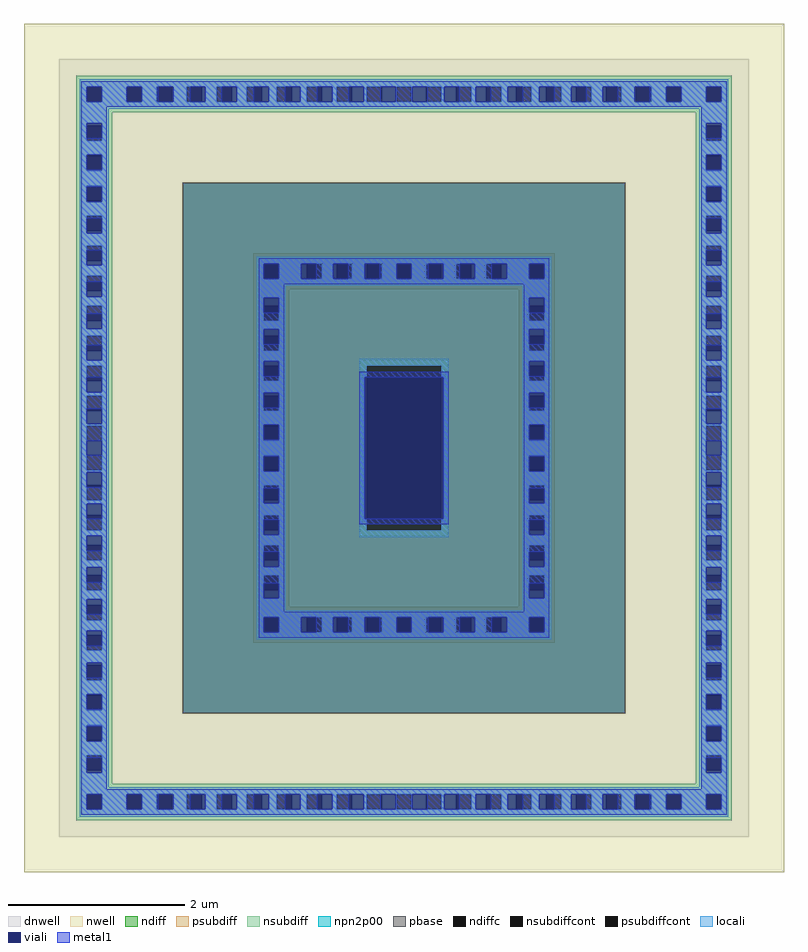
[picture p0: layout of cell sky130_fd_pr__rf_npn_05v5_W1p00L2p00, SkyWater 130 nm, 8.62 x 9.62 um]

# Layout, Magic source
magic
tech sky130A
magscale 1 2
<< dnwell >>
rect 80 80 1644 1844
<< nwell >>
rect 0 1564 1724 1924
rect 0 360 360 1564
rect 1364 360 1724 1564
rect 0 0 1724 360
<< pbase >>
rect 360 360 1364 1564
<< npn2p00 >>
rect 360 360 1364 1564
<< ndiff >>
rect 762 1149 962 1162
rect 762 775 777 1149
rect 947 775 962 1149
rect 762 762 962 775
<< ndiffc >>
rect 777 775 947 1149
<< psubdiff >>
rect 520 1380 1204 1404
rect 520 1346 544 1380
rect 578 1346 641 1380
rect 675 1346 709 1380
rect 743 1346 777 1380
rect 811 1346 845 1380
rect 879 1346 913 1380
rect 947 1346 981 1380
rect 1015 1346 1049 1380
rect 1083 1346 1146 1380
rect 1180 1346 1204 1380
rect 520 1322 1204 1346
rect 520 1285 602 1322
rect 520 1251 544 1285
rect 578 1251 602 1285
rect 520 1217 602 1251
rect 520 1183 544 1217
rect 578 1183 602 1217
rect 520 1149 602 1183
rect 1122 1285 1204 1322
rect 1122 1251 1146 1285
rect 1180 1251 1204 1285
rect 1122 1217 1204 1251
rect 1122 1183 1146 1217
rect 1180 1183 1204 1217
rect 520 1115 544 1149
rect 578 1115 602 1149
rect 520 1081 602 1115
rect 520 1047 544 1081
rect 578 1047 602 1081
rect 520 1013 602 1047
rect 520 979 544 1013
rect 578 979 602 1013
rect 520 945 602 979
rect 520 911 544 945
rect 578 911 602 945
rect 520 877 602 911
rect 520 843 544 877
rect 578 843 602 877
rect 520 809 602 843
rect 520 775 544 809
rect 578 775 602 809
rect 520 741 602 775
rect 1122 1149 1204 1183
rect 1122 1115 1146 1149
rect 1180 1115 1204 1149
rect 1122 1081 1204 1115
rect 1122 1047 1146 1081
rect 1180 1047 1204 1081
rect 1122 1013 1204 1047
rect 1122 979 1146 1013
rect 1180 979 1204 1013
rect 1122 945 1204 979
rect 1122 911 1146 945
rect 1180 911 1204 945
rect 1122 877 1204 911
rect 1122 843 1146 877
rect 1180 843 1204 877
rect 1122 809 1204 843
rect 1122 775 1146 809
rect 1180 775 1204 809
rect 520 707 544 741
rect 578 707 602 741
rect 520 673 602 707
rect 520 639 544 673
rect 578 639 602 673
rect 520 602 602 639
rect 1122 741 1204 775
rect 1122 707 1146 741
rect 1180 707 1204 741
rect 1122 673 1204 707
rect 1122 639 1146 673
rect 1180 639 1204 673
rect 1122 602 1204 639
rect 520 578 1204 602
rect 520 544 544 578
rect 578 544 641 578
rect 675 544 709 578
rect 743 544 777 578
rect 811 544 845 578
rect 879 544 913 578
rect 947 544 981 578
rect 1015 544 1049 578
rect 1083 544 1146 578
rect 1180 544 1204 578
rect 520 520 1204 544
<< nsubdiff >>
rect 118 1782 1606 1806
rect 118 1748 142 1782
rect 176 1748 233 1782
rect 267 1748 301 1782
rect 335 1748 369 1782
rect 403 1748 437 1782
rect 471 1748 505 1782
rect 539 1748 573 1782
rect 607 1748 641 1782
rect 675 1748 709 1782
rect 743 1748 777 1782
rect 811 1748 845 1782
rect 879 1748 913 1782
rect 947 1748 981 1782
rect 1015 1748 1049 1782
rect 1083 1748 1117 1782
rect 1151 1748 1185 1782
rect 1219 1748 1253 1782
rect 1287 1748 1321 1782
rect 1355 1748 1389 1782
rect 1423 1748 1457 1782
rect 1491 1748 1548 1782
rect 1582 1748 1606 1782
rect 118 1724 1606 1748
rect 118 1693 200 1724
rect 118 1659 142 1693
rect 176 1659 200 1693
rect 118 1625 200 1659
rect 118 1591 142 1625
rect 176 1591 200 1625
rect 118 1557 200 1591
rect 118 1523 142 1557
rect 176 1523 200 1557
rect 118 1489 200 1523
rect 118 1455 142 1489
rect 176 1455 200 1489
rect 118 1421 200 1455
rect 118 1387 142 1421
rect 176 1387 200 1421
rect 1524 1693 1606 1724
rect 1524 1659 1548 1693
rect 1582 1659 1606 1693
rect 1524 1625 1606 1659
rect 1524 1591 1548 1625
rect 1582 1591 1606 1625
rect 1524 1557 1606 1591
rect 1524 1523 1548 1557
rect 1582 1523 1606 1557
rect 1524 1489 1606 1523
rect 1524 1455 1548 1489
rect 1582 1455 1606 1489
rect 1524 1421 1606 1455
rect 118 1353 200 1387
rect 118 1319 142 1353
rect 176 1319 200 1353
rect 118 1285 200 1319
rect 118 1251 142 1285
rect 176 1251 200 1285
rect 118 1217 200 1251
rect 118 1183 142 1217
rect 176 1183 200 1217
rect 118 1149 200 1183
rect 118 1115 142 1149
rect 176 1115 200 1149
rect 118 1081 200 1115
rect 118 1047 142 1081
rect 176 1047 200 1081
rect 118 1013 200 1047
rect 118 979 142 1013
rect 176 979 200 1013
rect 118 945 200 979
rect 118 911 142 945
rect 176 911 200 945
rect 118 877 200 911
rect 118 843 142 877
rect 176 843 200 877
rect 118 809 200 843
rect 118 775 142 809
rect 176 775 200 809
rect 118 741 200 775
rect 118 707 142 741
rect 176 707 200 741
rect 118 673 200 707
rect 118 639 142 673
rect 176 639 200 673
rect 118 605 200 639
rect 118 571 142 605
rect 176 571 200 605
rect 118 537 200 571
rect 118 503 142 537
rect 176 503 200 537
rect 1524 1387 1548 1421
rect 1582 1387 1606 1421
rect 1524 1353 1606 1387
rect 1524 1319 1548 1353
rect 1582 1319 1606 1353
rect 1524 1285 1606 1319
rect 1524 1251 1548 1285
rect 1582 1251 1606 1285
rect 1524 1217 1606 1251
rect 1524 1183 1548 1217
rect 1582 1183 1606 1217
rect 1524 1149 1606 1183
rect 1524 1115 1548 1149
rect 1582 1115 1606 1149
rect 1524 1081 1606 1115
rect 1524 1047 1548 1081
rect 1582 1047 1606 1081
rect 1524 1013 1606 1047
rect 1524 979 1548 1013
rect 1582 979 1606 1013
rect 1524 945 1606 979
rect 1524 911 1548 945
rect 1582 911 1606 945
rect 1524 877 1606 911
rect 1524 843 1548 877
rect 1582 843 1606 877
rect 1524 809 1606 843
rect 1524 775 1548 809
rect 1582 775 1606 809
rect 1524 741 1606 775
rect 1524 707 1548 741
rect 1582 707 1606 741
rect 1524 673 1606 707
rect 1524 639 1548 673
rect 1582 639 1606 673
rect 1524 605 1606 639
rect 1524 571 1548 605
rect 1582 571 1606 605
rect 1524 537 1606 571
rect 118 469 200 503
rect 118 435 142 469
rect 176 435 200 469
rect 118 401 200 435
rect 118 367 142 401
rect 176 367 200 401
rect 118 333 200 367
rect 118 299 142 333
rect 176 299 200 333
rect 118 265 200 299
rect 118 231 142 265
rect 176 231 200 265
rect 118 200 200 231
rect 1524 503 1548 537
rect 1582 503 1606 537
rect 1524 469 1606 503
rect 1524 435 1548 469
rect 1582 435 1606 469
rect 1524 401 1606 435
rect 1524 367 1548 401
rect 1582 367 1606 401
rect 1524 333 1606 367
rect 1524 299 1548 333
rect 1582 299 1606 333
rect 1524 265 1606 299
rect 1524 231 1548 265
rect 1582 231 1606 265
rect 1524 200 1606 231
rect 118 176 1606 200
rect 118 142 142 176
rect 176 142 233 176
rect 267 142 301 176
rect 335 142 369 176
rect 403 142 437 176
rect 471 142 505 176
rect 539 142 573 176
rect 607 142 641 176
rect 675 142 709 176
rect 743 142 777 176
rect 811 142 845 176
rect 879 142 913 176
rect 947 142 981 176
rect 1015 142 1049 176
rect 1083 142 1117 176
rect 1151 142 1185 176
rect 1219 142 1253 176
rect 1287 142 1321 176
rect 1355 142 1389 176
rect 1423 142 1457 176
rect 1491 142 1548 176
rect 1582 142 1606 176
rect 118 118 1606 142
<< psubdiffcont >>
rect 544 1346 578 1380
rect 641 1346 675 1380
rect 709 1346 743 1380
rect 777 1346 811 1380
rect 845 1346 879 1380
rect 913 1346 947 1380
rect 981 1346 1015 1380
rect 1049 1346 1083 1380
rect 1146 1346 1180 1380
rect 544 1251 578 1285
rect 544 1183 578 1217
rect 1146 1251 1180 1285
rect 1146 1183 1180 1217
rect 544 1115 578 1149
rect 544 1047 578 1081
rect 544 979 578 1013
rect 544 911 578 945
rect 544 843 578 877
rect 544 775 578 809
rect 1146 1115 1180 1149
rect 1146 1047 1180 1081
rect 1146 979 1180 1013
rect 1146 911 1180 945
rect 1146 843 1180 877
rect 1146 775 1180 809
rect 544 707 578 741
rect 544 639 578 673
rect 1146 707 1180 741
rect 1146 639 1180 673
rect 544 544 578 578
rect 641 544 675 578
rect 709 544 743 578
rect 777 544 811 578
rect 845 544 879 578
rect 913 544 947 578
rect 981 544 1015 578
rect 1049 544 1083 578
rect 1146 544 1180 578
<< nsubdiffcont >>
rect 142 1748 176 1782
rect 233 1748 267 1782
rect 301 1748 335 1782
rect 369 1748 403 1782
rect 437 1748 471 1782
rect 505 1748 539 1782
rect 573 1748 607 1782
rect 641 1748 675 1782
rect 709 1748 743 1782
rect 777 1748 811 1782
rect 845 1748 879 1782
rect 913 1748 947 1782
rect 981 1748 1015 1782
rect 1049 1748 1083 1782
rect 1117 1748 1151 1782
rect 1185 1748 1219 1782
rect 1253 1748 1287 1782
rect 1321 1748 1355 1782
rect 1389 1748 1423 1782
rect 1457 1748 1491 1782
rect 1548 1748 1582 1782
rect 142 1659 176 1693
rect 142 1591 176 1625
rect 142 1523 176 1557
rect 142 1455 176 1489
rect 142 1387 176 1421
rect 1548 1659 1582 1693
rect 1548 1591 1582 1625
rect 1548 1523 1582 1557
rect 1548 1455 1582 1489
rect 142 1319 176 1353
rect 142 1251 176 1285
rect 142 1183 176 1217
rect 142 1115 176 1149
rect 142 1047 176 1081
rect 142 979 176 1013
rect 142 911 176 945
rect 142 843 176 877
rect 142 775 176 809
rect 142 707 176 741
rect 142 639 176 673
rect 142 571 176 605
rect 142 503 176 537
rect 1548 1387 1582 1421
rect 1548 1319 1582 1353
rect 1548 1251 1582 1285
rect 1548 1183 1582 1217
rect 1548 1115 1582 1149
rect 1548 1047 1582 1081
rect 1548 979 1582 1013
rect 1548 911 1582 945
rect 1548 843 1582 877
rect 1548 775 1582 809
rect 1548 707 1582 741
rect 1548 639 1582 673
rect 1548 571 1582 605
rect 142 435 176 469
rect 142 367 176 401
rect 142 299 176 333
rect 142 231 176 265
rect 1548 503 1582 537
rect 1548 435 1582 469
rect 1548 367 1582 401
rect 1548 299 1582 333
rect 1548 231 1582 265
rect 142 142 176 176
rect 233 142 267 176
rect 301 142 335 176
rect 369 142 403 176
rect 437 142 471 176
rect 505 142 539 176
rect 573 142 607 176
rect 641 142 675 176
rect 709 142 743 176
rect 777 142 811 176
rect 845 142 879 176
rect 913 142 947 176
rect 981 142 1015 176
rect 1049 142 1083 176
rect 1117 142 1151 176
rect 1185 142 1219 176
rect 1253 142 1287 176
rect 1321 142 1355 176
rect 1389 142 1423 176
rect 1457 142 1491 176
rect 1548 142 1582 176
<< locali >>
rect 126 1782 1598 1798
rect 126 1748 142 1782
rect 176 1748 233 1782
rect 267 1748 301 1782
rect 339 1748 369 1782
rect 411 1748 437 1782
rect 483 1748 505 1782
rect 555 1748 573 1782
rect 627 1748 641 1782
rect 699 1748 709 1782
rect 771 1748 777 1782
rect 843 1748 845 1782
rect 879 1748 881 1782
rect 947 1748 953 1782
rect 1015 1748 1025 1782
rect 1083 1748 1097 1782
rect 1151 1748 1169 1782
rect 1219 1748 1241 1782
rect 1287 1748 1313 1782
rect 1355 1748 1385 1782
rect 1423 1748 1457 1782
rect 1491 1748 1548 1782
rect 1582 1748 1598 1782
rect 126 1732 1598 1748
rect 126 1699 192 1732
rect 126 1659 142 1699
rect 176 1659 192 1699
rect 126 1627 192 1659
rect 126 1591 142 1627
rect 176 1591 192 1627
rect 126 1557 192 1591
rect 126 1521 142 1557
rect 176 1521 192 1557
rect 126 1489 192 1521
rect 126 1449 142 1489
rect 176 1449 192 1489
rect 126 1421 192 1449
rect 126 1377 142 1421
rect 176 1377 192 1421
rect 1532 1699 1598 1732
rect 1532 1659 1548 1699
rect 1582 1659 1598 1699
rect 1532 1627 1598 1659
rect 1532 1591 1548 1627
rect 1582 1591 1598 1627
rect 1532 1557 1598 1591
rect 1532 1521 1548 1557
rect 1582 1521 1598 1557
rect 1532 1489 1598 1521
rect 1532 1449 1548 1489
rect 1582 1449 1598 1489
rect 1532 1421 1598 1449
rect 126 1353 192 1377
rect 126 1305 142 1353
rect 176 1305 192 1353
rect 126 1285 192 1305
rect 126 1233 142 1285
rect 176 1233 192 1285
rect 126 1217 192 1233
rect 126 1161 142 1217
rect 176 1161 192 1217
rect 126 1149 192 1161
rect 126 1089 142 1149
rect 176 1089 192 1149
rect 126 1081 192 1089
rect 126 1017 142 1081
rect 176 1017 192 1081
rect 126 1013 192 1017
rect 126 911 142 1013
rect 176 911 192 1013
rect 126 907 192 911
rect 126 843 142 907
rect 176 843 192 907
rect 126 835 192 843
rect 126 775 142 835
rect 176 775 192 835
rect 126 763 192 775
rect 126 707 142 763
rect 176 707 192 763
rect 126 691 192 707
rect 126 639 142 691
rect 176 639 192 691
rect 126 619 192 639
rect 126 571 142 619
rect 176 571 192 619
rect 126 547 192 571
rect 126 503 142 547
rect 176 503 192 547
rect 528 1380 1196 1396
rect 528 1346 544 1380
rect 578 1346 629 1380
rect 675 1346 701 1380
rect 743 1346 773 1380
rect 811 1346 845 1380
rect 879 1346 913 1380
rect 951 1346 981 1380
rect 1023 1346 1049 1380
rect 1095 1346 1146 1380
rect 1180 1346 1196 1380
rect 528 1330 1196 1346
rect 528 1303 594 1330
rect 528 1251 544 1303
rect 578 1251 594 1303
rect 528 1231 594 1251
rect 528 1183 544 1231
rect 578 1183 594 1231
rect 528 1159 594 1183
rect 1130 1303 1196 1330
rect 1130 1251 1146 1303
rect 1180 1251 1196 1303
rect 1130 1231 1196 1251
rect 1130 1183 1146 1231
rect 1180 1183 1196 1231
rect 528 1115 544 1159
rect 578 1115 594 1159
rect 528 1087 594 1115
rect 528 1047 544 1087
rect 578 1047 594 1087
rect 528 1015 594 1047
rect 528 979 544 1015
rect 578 979 594 1015
rect 528 945 594 979
rect 528 909 544 945
rect 578 909 594 945
rect 528 877 594 909
rect 528 837 544 877
rect 578 837 594 877
rect 528 809 594 837
rect 528 765 544 809
rect 578 765 594 809
rect 528 741 594 765
rect 761 1149 963 1165
rect 761 1123 777 1149
rect 947 1123 963 1149
rect 761 801 773 1123
rect 951 801 963 1123
rect 761 775 777 801
rect 947 775 963 801
rect 761 759 963 775
rect 1130 1159 1196 1183
rect 1130 1115 1146 1159
rect 1180 1115 1196 1159
rect 1130 1087 1196 1115
rect 1130 1047 1146 1087
rect 1180 1047 1196 1087
rect 1130 1015 1196 1047
rect 1130 979 1146 1015
rect 1180 979 1196 1015
rect 1130 945 1196 979
rect 1130 909 1146 945
rect 1180 909 1196 945
rect 1130 877 1196 909
rect 1130 837 1146 877
rect 1180 837 1196 877
rect 1130 809 1196 837
rect 1130 765 1146 809
rect 1180 765 1196 809
rect 528 693 544 741
rect 578 693 594 741
rect 528 673 594 693
rect 528 621 544 673
rect 578 621 594 673
rect 528 594 594 621
rect 1130 741 1196 765
rect 1130 693 1146 741
rect 1180 693 1196 741
rect 1130 673 1196 693
rect 1130 621 1146 673
rect 1180 621 1196 673
rect 1130 594 1196 621
rect 528 578 1196 594
rect 528 544 544 578
rect 578 544 629 578
rect 675 544 701 578
rect 743 544 773 578
rect 811 544 845 578
rect 879 544 913 578
rect 951 544 981 578
rect 1023 544 1049 578
rect 1095 544 1146 578
rect 1180 544 1196 578
rect 528 528 1196 544
rect 1532 1377 1548 1421
rect 1582 1377 1598 1421
rect 1532 1353 1598 1377
rect 1532 1305 1548 1353
rect 1582 1305 1598 1353
rect 1532 1285 1598 1305
rect 1532 1233 1548 1285
rect 1582 1233 1598 1285
rect 1532 1217 1598 1233
rect 1532 1161 1548 1217
rect 1582 1161 1598 1217
rect 1532 1149 1598 1161
rect 1532 1089 1548 1149
rect 1582 1089 1598 1149
rect 1532 1081 1598 1089
rect 1532 1017 1548 1081
rect 1582 1017 1598 1081
rect 1532 1013 1598 1017
rect 1532 911 1548 1013
rect 1582 911 1598 1013
rect 1532 907 1598 911
rect 1532 843 1548 907
rect 1582 843 1598 907
rect 1532 835 1598 843
rect 1532 775 1548 835
rect 1582 775 1598 835
rect 1532 763 1598 775
rect 1532 707 1548 763
rect 1582 707 1598 763
rect 1532 691 1598 707
rect 1532 639 1548 691
rect 1582 639 1598 691
rect 1532 619 1598 639
rect 1532 571 1548 619
rect 1582 571 1598 619
rect 1532 547 1598 571
rect 126 475 192 503
rect 126 435 142 475
rect 176 435 192 475
rect 126 403 192 435
rect 126 367 142 403
rect 176 367 192 403
rect 126 333 192 367
rect 126 297 142 333
rect 176 297 192 333
rect 126 265 192 297
rect 126 225 142 265
rect 176 225 192 265
rect 126 192 192 225
rect 1532 503 1548 547
rect 1582 503 1598 547
rect 1532 475 1598 503
rect 1532 435 1548 475
rect 1582 435 1598 475
rect 1532 403 1598 435
rect 1532 367 1548 403
rect 1582 367 1598 403
rect 1532 333 1598 367
rect 1532 297 1548 333
rect 1582 297 1598 333
rect 1532 265 1598 297
rect 1532 225 1548 265
rect 1582 225 1598 265
rect 1532 192 1598 225
rect 126 176 1598 192
rect 126 142 142 176
rect 176 142 233 176
rect 267 142 301 176
rect 339 142 369 176
rect 411 142 437 176
rect 483 142 505 176
rect 555 142 573 176
rect 627 142 641 176
rect 699 142 709 176
rect 771 142 777 176
rect 843 142 845 176
rect 879 142 881 176
rect 947 142 953 176
rect 1015 142 1025 176
rect 1083 142 1097 176
rect 1151 142 1169 176
rect 1219 142 1241 176
rect 1287 142 1313 176
rect 1355 142 1385 176
rect 1423 142 1457 176
rect 1491 142 1548 176
rect 1582 142 1598 176
rect 126 126 1598 142
<< viali >>
rect 142 1748 176 1782
rect 233 1748 267 1782
rect 305 1748 335 1782
rect 335 1748 339 1782
rect 377 1748 403 1782
rect 403 1748 411 1782
rect 449 1748 471 1782
rect 471 1748 483 1782
rect 521 1748 539 1782
rect 539 1748 555 1782
rect 593 1748 607 1782
rect 607 1748 627 1782
rect 665 1748 675 1782
rect 675 1748 699 1782
rect 737 1748 743 1782
rect 743 1748 771 1782
rect 809 1748 811 1782
rect 811 1748 843 1782
rect 881 1748 913 1782
rect 913 1748 915 1782
rect 953 1748 981 1782
rect 981 1748 987 1782
rect 1025 1748 1049 1782
rect 1049 1748 1059 1782
rect 1097 1748 1117 1782
rect 1117 1748 1131 1782
rect 1169 1748 1185 1782
rect 1185 1748 1203 1782
rect 1241 1748 1253 1782
rect 1253 1748 1275 1782
rect 1313 1748 1321 1782
rect 1321 1748 1347 1782
rect 1385 1748 1389 1782
rect 1389 1748 1419 1782
rect 1457 1748 1491 1782
rect 1548 1748 1582 1782
rect 142 1693 176 1699
rect 142 1665 176 1693
rect 142 1625 176 1627
rect 142 1593 176 1625
rect 142 1523 176 1555
rect 142 1521 176 1523
rect 142 1455 176 1483
rect 142 1449 176 1455
rect 142 1387 176 1411
rect 142 1377 176 1387
rect 1548 1693 1582 1699
rect 1548 1665 1582 1693
rect 1548 1625 1582 1627
rect 1548 1593 1582 1625
rect 1548 1523 1582 1555
rect 1548 1521 1582 1523
rect 1548 1455 1582 1483
rect 1548 1449 1582 1455
rect 142 1319 176 1339
rect 142 1305 176 1319
rect 142 1251 176 1267
rect 142 1233 176 1251
rect 142 1183 176 1195
rect 142 1161 176 1183
rect 142 1115 176 1123
rect 142 1089 176 1115
rect 142 1047 176 1051
rect 142 1017 176 1047
rect 142 945 176 979
rect 142 877 176 907
rect 142 873 176 877
rect 142 809 176 835
rect 142 801 176 809
rect 142 741 176 763
rect 142 729 176 741
rect 142 673 176 691
rect 142 657 176 673
rect 142 605 176 619
rect 142 585 176 605
rect 142 537 176 547
rect 142 513 176 537
rect 544 1346 578 1380
rect 629 1346 641 1380
rect 641 1346 663 1380
rect 701 1346 709 1380
rect 709 1346 735 1380
rect 773 1346 777 1380
rect 777 1346 807 1380
rect 845 1346 879 1380
rect 917 1346 947 1380
rect 947 1346 951 1380
rect 989 1346 1015 1380
rect 1015 1346 1023 1380
rect 1061 1346 1083 1380
rect 1083 1346 1095 1380
rect 1146 1346 1180 1380
rect 544 1285 578 1303
rect 544 1269 578 1285
rect 544 1217 578 1231
rect 544 1197 578 1217
rect 1146 1285 1180 1303
rect 1146 1269 1180 1285
rect 1146 1217 1180 1231
rect 1146 1197 1180 1217
rect 544 1149 578 1159
rect 544 1125 578 1149
rect 544 1081 578 1087
rect 544 1053 578 1081
rect 544 1013 578 1015
rect 544 981 578 1013
rect 544 911 578 943
rect 544 909 578 911
rect 544 843 578 871
rect 544 837 578 843
rect 544 775 578 799
rect 544 765 578 775
rect 773 801 777 1123
rect 777 801 947 1123
rect 947 801 951 1123
rect 1146 1149 1180 1159
rect 1146 1125 1180 1149
rect 1146 1081 1180 1087
rect 1146 1053 1180 1081
rect 1146 1013 1180 1015
rect 1146 981 1180 1013
rect 1146 911 1180 943
rect 1146 909 1180 911
rect 1146 843 1180 871
rect 1146 837 1180 843
rect 1146 775 1180 799
rect 1146 765 1180 775
rect 544 707 578 727
rect 544 693 578 707
rect 544 639 578 655
rect 544 621 578 639
rect 1146 707 1180 727
rect 1146 693 1180 707
rect 1146 639 1180 655
rect 1146 621 1180 639
rect 544 544 578 578
rect 629 544 641 578
rect 641 544 663 578
rect 701 544 709 578
rect 709 544 735 578
rect 773 544 777 578
rect 777 544 807 578
rect 845 544 879 578
rect 917 544 947 578
rect 947 544 951 578
rect 989 544 1015 578
rect 1015 544 1023 578
rect 1061 544 1083 578
rect 1083 544 1095 578
rect 1146 544 1180 578
rect 1548 1387 1582 1411
rect 1548 1377 1582 1387
rect 1548 1319 1582 1339
rect 1548 1305 1582 1319
rect 1548 1251 1582 1267
rect 1548 1233 1582 1251
rect 1548 1183 1582 1195
rect 1548 1161 1582 1183
rect 1548 1115 1582 1123
rect 1548 1089 1582 1115
rect 1548 1047 1582 1051
rect 1548 1017 1582 1047
rect 1548 945 1582 979
rect 1548 877 1582 907
rect 1548 873 1582 877
rect 1548 809 1582 835
rect 1548 801 1582 809
rect 1548 741 1582 763
rect 1548 729 1582 741
rect 1548 673 1582 691
rect 1548 657 1582 673
rect 1548 605 1582 619
rect 1548 585 1582 605
rect 142 469 176 475
rect 142 441 176 469
rect 142 401 176 403
rect 142 369 176 401
rect 142 299 176 331
rect 142 297 176 299
rect 142 231 176 259
rect 142 225 176 231
rect 1548 537 1582 547
rect 1548 513 1582 537
rect 1548 469 1582 475
rect 1548 441 1582 469
rect 1548 401 1582 403
rect 1548 369 1582 401
rect 1548 299 1582 331
rect 1548 297 1582 299
rect 1548 231 1582 259
rect 1548 225 1582 231
rect 142 142 176 176
rect 233 142 267 176
rect 305 142 335 176
rect 335 142 339 176
rect 377 142 403 176
rect 403 142 411 176
rect 449 142 471 176
rect 471 142 483 176
rect 521 142 539 176
rect 539 142 555 176
rect 593 142 607 176
rect 607 142 627 176
rect 665 142 675 176
rect 675 142 699 176
rect 737 142 743 176
rect 743 142 771 176
rect 809 142 811 176
rect 811 142 843 176
rect 881 142 913 176
rect 913 142 915 176
rect 953 142 981 176
rect 981 142 987 176
rect 1025 142 1049 176
rect 1049 142 1059 176
rect 1097 142 1117 176
rect 1117 142 1131 176
rect 1169 142 1185 176
rect 1185 142 1203 176
rect 1241 142 1253 176
rect 1253 142 1275 176
rect 1313 142 1321 176
rect 1321 142 1347 176
rect 1385 142 1389 176
rect 1389 142 1419 176
rect 1457 142 1491 176
rect 1548 142 1582 176
<< metal1 >>
rect 130 1782 1594 1794
rect 130 1748 142 1782
rect 176 1748 233 1782
rect 267 1748 305 1782
rect 339 1748 377 1782
rect 411 1748 449 1782
rect 483 1748 521 1782
rect 555 1748 593 1782
rect 627 1748 665 1782
rect 699 1748 737 1782
rect 771 1748 809 1782
rect 843 1748 881 1782
rect 915 1748 953 1782
rect 987 1748 1025 1782
rect 1059 1748 1097 1782
rect 1131 1748 1169 1782
rect 1203 1748 1241 1782
rect 1275 1748 1313 1782
rect 1347 1748 1385 1782
rect 1419 1748 1457 1782
rect 1491 1748 1548 1782
rect 1582 1748 1594 1782
rect 130 1736 1594 1748
rect 130 1699 188 1736
rect 130 1665 142 1699
rect 176 1665 188 1699
rect 130 1627 188 1665
rect 130 1593 142 1627
rect 176 1593 188 1627
rect 130 1555 188 1593
rect 130 1521 142 1555
rect 176 1521 188 1555
rect 130 1483 188 1521
rect 130 1449 142 1483
rect 176 1449 188 1483
rect 130 1411 188 1449
rect 130 1377 142 1411
rect 176 1377 188 1411
rect 1536 1699 1594 1736
rect 1536 1665 1548 1699
rect 1582 1665 1594 1699
rect 1536 1627 1594 1665
rect 1536 1593 1548 1627
rect 1582 1593 1594 1627
rect 1536 1555 1594 1593
rect 1536 1521 1548 1555
rect 1582 1521 1594 1555
rect 1536 1483 1594 1521
rect 1536 1449 1548 1483
rect 1582 1449 1594 1483
rect 1536 1411 1594 1449
rect 130 1339 188 1377
rect 130 1305 142 1339
rect 176 1305 188 1339
rect 130 1267 188 1305
rect 130 1233 142 1267
rect 176 1233 188 1267
rect 130 1195 188 1233
rect 130 1161 142 1195
rect 176 1161 188 1195
rect 130 1123 188 1161
rect 130 1089 142 1123
rect 176 1089 188 1123
rect 130 1051 188 1089
rect 130 1017 142 1051
rect 176 1017 188 1051
rect 130 979 188 1017
rect 130 945 142 979
rect 176 945 188 979
rect 130 907 188 945
rect 130 873 142 907
rect 176 873 188 907
rect 130 835 188 873
rect 130 801 142 835
rect 176 801 188 835
rect 130 763 188 801
rect 130 729 142 763
rect 176 729 188 763
rect 130 691 188 729
rect 130 657 142 691
rect 176 657 188 691
rect 130 619 188 657
rect 130 585 142 619
rect 176 585 188 619
rect 130 547 188 585
rect 130 513 142 547
rect 176 513 188 547
rect 532 1380 1192 1392
rect 532 1346 544 1380
rect 578 1346 629 1380
rect 663 1346 701 1380
rect 735 1346 773 1380
rect 807 1346 845 1380
rect 879 1346 917 1380
rect 951 1346 989 1380
rect 1023 1346 1061 1380
rect 1095 1346 1146 1380
rect 1180 1346 1192 1380
rect 532 1334 1192 1346
rect 532 1303 590 1334
rect 532 1269 544 1303
rect 578 1269 590 1303
rect 532 1231 590 1269
rect 532 1197 544 1231
rect 578 1197 590 1231
rect 532 1159 590 1197
rect 532 1125 544 1159
rect 578 1125 590 1159
rect 1134 1303 1192 1334
rect 1134 1269 1146 1303
rect 1180 1269 1192 1303
rect 1134 1231 1192 1269
rect 1134 1197 1146 1231
rect 1180 1197 1192 1231
rect 1134 1159 1192 1197
rect 532 1087 590 1125
rect 532 1053 544 1087
rect 578 1053 590 1087
rect 532 1015 590 1053
rect 532 981 544 1015
rect 578 981 590 1015
rect 532 943 590 981
rect 532 909 544 943
rect 578 909 590 943
rect 532 871 590 909
rect 532 837 544 871
rect 578 837 590 871
rect 532 799 590 837
rect 532 765 544 799
rect 578 765 590 799
rect 761 1123 963 1135
rect 761 801 773 1123
rect 951 801 963 1123
rect 761 789 963 801
rect 1134 1125 1146 1159
rect 1180 1125 1192 1159
rect 1134 1087 1192 1125
rect 1134 1053 1146 1087
rect 1180 1053 1192 1087
rect 1134 1015 1192 1053
rect 1134 981 1146 1015
rect 1180 981 1192 1015
rect 1134 943 1192 981
rect 1134 909 1146 943
rect 1180 909 1192 943
rect 1134 871 1192 909
rect 1134 837 1146 871
rect 1180 837 1192 871
rect 1134 799 1192 837
rect 532 727 590 765
rect 532 693 544 727
rect 578 693 590 727
rect 532 655 590 693
rect 532 621 544 655
rect 578 621 590 655
rect 532 590 590 621
rect 1134 765 1146 799
rect 1180 765 1192 799
rect 1134 727 1192 765
rect 1134 693 1146 727
rect 1180 693 1192 727
rect 1134 655 1192 693
rect 1134 621 1146 655
rect 1180 621 1192 655
rect 1134 590 1192 621
rect 532 578 1192 590
rect 532 544 544 578
rect 578 544 629 578
rect 663 544 701 578
rect 735 544 773 578
rect 807 544 845 578
rect 879 544 917 578
rect 951 544 989 578
rect 1023 544 1061 578
rect 1095 544 1146 578
rect 1180 544 1192 578
rect 532 532 1192 544
rect 1536 1377 1548 1411
rect 1582 1377 1594 1411
rect 1536 1339 1594 1377
rect 1536 1305 1548 1339
rect 1582 1305 1594 1339
rect 1536 1267 1594 1305
rect 1536 1233 1548 1267
rect 1582 1233 1594 1267
rect 1536 1195 1594 1233
rect 1536 1161 1548 1195
rect 1582 1161 1594 1195
rect 1536 1123 1594 1161
rect 1536 1089 1548 1123
rect 1582 1089 1594 1123
rect 1536 1051 1594 1089
rect 1536 1017 1548 1051
rect 1582 1017 1594 1051
rect 1536 979 1594 1017
rect 1536 945 1548 979
rect 1582 945 1594 979
rect 1536 907 1594 945
rect 1536 873 1548 907
rect 1582 873 1594 907
rect 1536 835 1594 873
rect 1536 801 1548 835
rect 1582 801 1594 835
rect 1536 763 1594 801
rect 1536 729 1548 763
rect 1582 729 1594 763
rect 1536 691 1594 729
rect 1536 657 1548 691
rect 1582 657 1594 691
rect 1536 619 1594 657
rect 1536 585 1548 619
rect 1582 585 1594 619
rect 1536 547 1594 585
rect 130 475 188 513
rect 130 441 142 475
rect 176 441 188 475
rect 130 403 188 441
rect 130 369 142 403
rect 176 369 188 403
rect 130 331 188 369
rect 130 297 142 331
rect 176 297 188 331
rect 130 259 188 297
rect 130 225 142 259
rect 176 225 188 259
rect 130 188 188 225
rect 1536 513 1548 547
rect 1582 513 1594 547
rect 1536 475 1594 513
rect 1536 441 1548 475
rect 1582 441 1594 475
rect 1536 403 1594 441
rect 1536 369 1548 403
rect 1582 369 1594 403
rect 1536 331 1594 369
rect 1536 297 1548 331
rect 1582 297 1594 331
rect 1536 259 1594 297
rect 1536 225 1548 259
rect 1582 225 1594 259
rect 1536 188 1594 225
rect 130 176 1594 188
rect 130 142 142 176
rect 176 142 233 176
rect 267 142 305 176
rect 339 142 377 176
rect 411 142 449 176
rect 483 142 521 176
rect 555 142 593 176
rect 627 142 665 176
rect 699 142 737 176
rect 771 142 809 176
rect 843 142 881 176
rect 915 142 953 176
rect 987 142 1025 176
rect 1059 142 1097 176
rect 1131 142 1169 176
rect 1203 142 1241 176
rect 1275 142 1313 176
rect 1347 142 1385 176
rect 1419 142 1457 176
rect 1491 142 1548 176
rect 1582 142 1594 176
rect 130 130 1594 142
<< properties >>
string gencell sky130_fd_pr__rf_npn_05v5_W1p00L2p00
string GDS_FILE $PDKPATH/libs.ref/sky130_fd_pr/gds/sky130_fd_pr.gds
string GDS_END 8912664
string GDS_START 8888396
string parameter m=1
string library sky130
string path 4.500 9.000 4.500 43.600 38.600 43.600 38.600 4.500 0.000 4.500 
<< end >>
